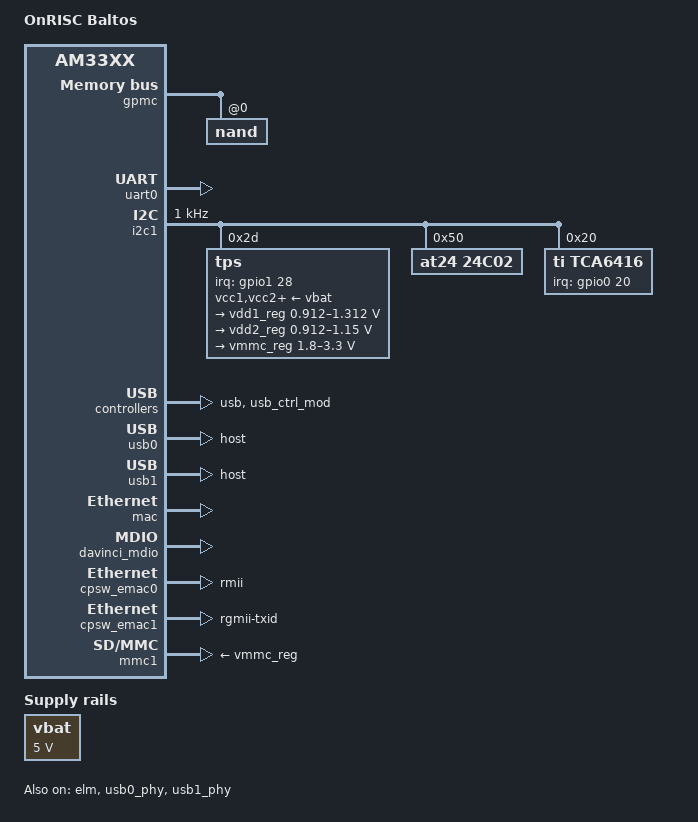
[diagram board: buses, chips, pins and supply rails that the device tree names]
/*
 * Copyright (C) 2012 Texas Instruments Incorporated - http://www.ti.com/
 *
 * This program is free software; you can redistribute it and/or modify
 * it under the terms of the GNU General Public License version 2 as
 * published by the Free Software Foundation.
 */

/*
 * VScom OnRISC
 * http://www.vscom.de
 */

/dts-v1/;

#include "am33xx.dtsi"
#include <dt-bindings/pwm/pwm.h>

/ {
	model = "OnRISC Baltos";
	compatible = "vscom,onrisc", "ti,am33xx";

	chosen {
		stdout-path = &uart0;
	};

	cpus {
		cpu@0 {
			cpu0-supply = <&vdd1_reg>;
		};
	};

	vbat: fixedregulator@0 {
		compatible = "regulator-fixed";
		regulator-name = "vbat";
		regulator-min-microvolt = <5000000>;
		regulator-max-microvolt = <5000000>;
		regulator-boot-on;
	};
};

&am33xx_pinmux {
	mmc1_pins: pinmux_mmc1_pins {
		pinctrl-single,pins = <
			0xf0 (MUX_MODE0 | INPUT_EN | PULL_UP)	/* mmc0_dat3.mmc0_dat3 */
			0xf4 (MUX_MODE0 | INPUT_EN | PULL_UP)	/* mmc0_dat2.mmc0_dat2 */
			0xf8 (MUX_MODE0 | INPUT_EN | PULL_UP)	/* mmc0_dat1.mmc0_dat1 */
			0xfc (MUX_MODE0 | INPUT_EN | PULL_UP)	/* mmc0_dat0.mmc0_dat0 */
			0x100 (MUX_MODE0 | INPUT_EN | PULL_UP)	/* mmc0_clk.mmc0_clk */
			0x104 (MUX_MODE0 | INPUT_EN | PULL_UP)	/* mmc0_cmd.mmc0_cmd */
		>;
	};

	i2c1_pins: pinmux_i2c1_pins {
		pinctrl-single,pins = <
			0x158 0x2a      /* spi0_d1.i2c1_sda_mux3, INPUT | MODE2 */
			0x15c 0x2a      /* spi0_cs0.i2c1_scl_mux3, INPUT | MODE2 */
		>;
	};

	tps65910_pins: pinmux_tps65910_pins {
		pinctrl-single,pins = <
			0x078 (PIN_INPUT_PULLUP | MUX_MODE7)      /* gpmc_ben1.gpio1[28] */
		>;

	};
	tca6416_pins: pinmux_tca6416_pins {
		pinctrl-single,pins = <
			AM33XX_IOPAD(0x9b4, PIN_INPUT_PULLUP | MUX_MODE7)      /* xdma_event_intr1.gpio0[20] tca6416 stuff */
		>;
	};

	uart0_pins: pinmux_uart0_pins {
		pinctrl-single,pins = <
			0x170 (PIN_INPUT_PULLUP | MUX_MODE0)	/* uart0_rxd.uart0_rxd */
			0x174 (PIN_OUTPUT_PULLDOWN | MUX_MODE0)		/* uart0_txd.uart0_txd */
		>;
	};

	cpsw_default: cpsw_default {
		pinctrl-single,pins = <
			/* Slave 1 */
			0x10c (PIN_INPUT_PULLDOWN | MUX_MODE1)       /* mii1_crs.rmii1_crs_dv */
			0x114 (PIN_OUTPUT_PULLDOWN | MUX_MODE1)      /* mii1_tx_en.rmii1_txen */
			0x124 (PIN_OUTPUT_PULLDOWN | MUX_MODE1)      /* mii1_txd1.rmii1_txd1 */
			0x128 (PIN_OUTPUT_PULLDOWN | MUX_MODE1)      /* mii1_txd0.rmii1_txd0 */
			0x13c (PIN_INPUT_PULLDOWN | MUX_MODE1)      /* mii1_rxd1.rmii1_rxd1 */
			0x140 (PIN_INPUT_PULLDOWN | MUX_MODE1)      /* mii1_rxd0.rmii1_rxd0 */
			0x144 (PIN_INPUT_PULLDOWN | MUX_MODE0)      /* rmii1_ref_clk.rmii1_refclk */


			/* Slave 2 */
			0x40 (PIN_OUTPUT_PULLDOWN | MUX_MODE2)	/* gpmc_a0.rgmii2_tctl */
			0x44 (PIN_INPUT_PULLDOWN | MUX_MODE2)	/* gpmc_a1.rgmii2_rctl */
			0x48 (PIN_OUTPUT_PULLDOWN | MUX_MODE2)	/* gpmc_a2.rgmii2_td3 */
			0x4c (PIN_OUTPUT_PULLDOWN | MUX_MODE2)	/* gpmc_a3.rgmii2_td2 */
			0x50 (PIN_OUTPUT_PULLDOWN | MUX_MODE2)	/* gpmc_a4.rgmii2_td1 */
			0x54 (PIN_OUTPUT_PULLDOWN | MUX_MODE2)	/* gpmc_a5.rgmii2_td0 */
			0x58 (PIN_OUTPUT_PULLDOWN | MUX_MODE2)	/* gpmc_a6.rgmii2_tclk */
			0x5c (PIN_INPUT_PULLDOWN | MUX_MODE2)	/* gpmc_a7.rgmii2_rclk */
			0x60 (PIN_INPUT_PULLDOWN | MUX_MODE2)	/* gpmc_a8.rgmii2_rd3 */
			0x64 (PIN_INPUT_PULLDOWN | MUX_MODE2)	/* gpmc_a9.rgmii2_rd2 */
			0x68 (PIN_INPUT_PULLDOWN | MUX_MODE2)	/* gpmc_a10.rgmii2_rd1 */
			0x6c (PIN_INPUT_PULLDOWN | MUX_MODE2)	/* gpmc_a11.rgmii2_rd0 */
		>;
	};

	cpsw_sleep: cpsw_sleep {
		pinctrl-single,pins = <
			/* Slave 1 reset value */
			0x10c (PIN_INPUT_PULLDOWN | MUX_MODE7)
			0x114 (PIN_INPUT_PULLDOWN | MUX_MODE7)
			0x124 (PIN_INPUT_PULLDOWN | MUX_MODE7)
			0x128 (PIN_INPUT_PULLDOWN | MUX_MODE7)
			0x13c (PIN_INPUT_PULLDOWN | MUX_MODE7)
			0x140 (PIN_INPUT_PULLDOWN | MUX_MODE7)
			0x144 (PIN_INPUT_PULLDOWN | MUX_MODE7)

			/* Slave 2 reset value*/
			0x40 (PIN_INPUT_PULLDOWN | MUX_MODE7)
			0x44 (PIN_INPUT_PULLDOWN | MUX_MODE7)
			0x48 (PIN_INPUT_PULLDOWN | MUX_MODE7)
			0x4c (PIN_INPUT_PULLDOWN | MUX_MODE7)
			0x50 (PIN_INPUT_PULLDOWN | MUX_MODE7)
			0x54 (PIN_INPUT_PULLDOWN | MUX_MODE7)
			0x58 (PIN_INPUT_PULLDOWN | MUX_MODE7)
			0x5c (PIN_INPUT_PULLDOWN | MUX_MODE7)
			0x60 (PIN_INPUT_PULLDOWN | MUX_MODE7)
			0x64 (PIN_INPUT_PULLDOWN | MUX_MODE7)
			0x68 (PIN_INPUT_PULLDOWN | MUX_MODE7)
			0x6c (PIN_INPUT_PULLDOWN | MUX_MODE7)
		>;
	};

	davinci_mdio_default: davinci_mdio_default {
		pinctrl-single,pins = <
			/* MDIO */
			0x148 (PIN_INPUT_PULLUP | SLEWCTRL_FAST | MUX_MODE0)	/* mdio_data.mdio_data */
			0x14c (PIN_OUTPUT_PULLUP | MUX_MODE0)			/* mdio_clk.mdio_clk */
		>;
	};

	davinci_mdio_sleep: davinci_mdio_sleep {
		pinctrl-single,pins = <
			/* MDIO reset value */
			0x148 (PIN_INPUT_PULLDOWN | MUX_MODE7)
			0x14c (PIN_INPUT_PULLDOWN | MUX_MODE7)
		>;
	};

	nandflash_pins_s0: nandflash_pins_s0 {
		pinctrl-single,pins = <
			0x0 (PIN_INPUT_PULLUP | MUX_MODE0)	/* gpmc_ad0.gpmc_ad0 */
			0x4 (PIN_INPUT_PULLUP | MUX_MODE0)	/* gpmc_ad1.gpmc_ad1 */
			0x8 (PIN_INPUT_PULLUP | MUX_MODE0)	/* gpmc_ad2.gpmc_ad2 */
			0xc (PIN_INPUT_PULLUP | MUX_MODE0)	/* gpmc_ad3.gpmc_ad3 */
			0x10 (PIN_INPUT_PULLUP | MUX_MODE0)	/* gpmc_ad4.gpmc_ad4 */
			0x14 (PIN_INPUT_PULLUP | MUX_MODE0)	/* gpmc_ad5.gpmc_ad5 */
			0x18 (PIN_INPUT_PULLUP | MUX_MODE0)	/* gpmc_ad6.gpmc_ad6 */
			0x1c (PIN_INPUT_PULLUP | MUX_MODE0)	/* gpmc_ad7.gpmc_ad7 */
			0x70 (PIN_INPUT_PULLUP | MUX_MODE0)	/* gpmc_wait0.gpmc_wait0 */
			0x74 (PIN_INPUT_PULLUP | MUX_MODE7)	/* gpmc_wpn.gpio0_30 */
			0x7c (PIN_OUTPUT | MUX_MODE0)		/* gpmc_csn0.gpmc_csn0  */
			0x90 (PIN_OUTPUT | MUX_MODE0)		/* gpmc_advn_ale.gpmc_advn_ale */
			0x94 (PIN_OUTPUT | MUX_MODE0)		/* gpmc_oen_ren.gpmc_oen_ren */
			0x98 (PIN_OUTPUT | MUX_MODE0)		/* gpmc_wen.gpmc_wen */
			0x9c (PIN_OUTPUT | MUX_MODE0)		/* gpmc_be0n_cle.gpmc_be0n_cle */
		>;
	};
};

&elm {
	status = "okay";
};

&gpmc {
	pinctrl-names = "default";
	pinctrl-0 = <&nandflash_pins_s0>;
	ranges = <0 0 0x08000000 0x10000000>;	/* CS0: NAND */
	status = "okay";

	nand@0,0 {
		reg = <0 0 0>; /* CS0, offset 0 */
		nand-bus-width = <8>;
		ti,nand-ecc-opt = "bch8";
		ti,nand-xfer-type = "polled";

		gpmc,device-nand = "true";
		gpmc,device-width = <1>;
		gpmc,sync-clk-ps = <0>;
		gpmc,cs-on-ns = <0>;
		gpmc,cs-rd-off-ns = <44>;
		gpmc,cs-wr-off-ns = <44>;
		gpmc,adv-on-ns = <6>;
		gpmc,adv-rd-off-ns = <34>;
		gpmc,adv-wr-off-ns = <44>;
		gpmc,we-on-ns = <0>;
		gpmc,we-off-ns = <40>;
		gpmc,oe-on-ns = <0>;
		gpmc,oe-off-ns = <54>;
		gpmc,access-ns = <64>;
		gpmc,rd-cycle-ns = <82>;
		gpmc,wr-cycle-ns = <82>;
		gpmc,wait-on-read = "true";
		gpmc,wait-on-write = "true";
		gpmc,bus-turnaround-ns = <0>;
		gpmc,cycle2cycle-delay-ns = <0>;
		gpmc,clk-activation-ns = <0>;
		gpmc,wait-monitoring-ns = <0>;
		gpmc,wr-access-ns = <40>;
		gpmc,wr-data-mux-bus-ns = <0>;

		#address-cells = <1>;
		#size-cells = <1>;
		elm_id = <&elm>;

		boot@0 {
		       label = "SPL";
		       reg = <0x0 0x20000>;
		};
		boot@20000{
		       label = "SPL.backup1";
		       reg = <0x20000 0x20000>;
		};
		boot@40000 {
		       label = "SPL.backup2";
		       reg = <0x40000 0x20000>;
		};
		boot@60000 {
		       label = "SPL.backup3";
		       reg = <0x60000 0x20000>;
		};
		boot@80000 {
		       label = "u-boot";
		       reg = <0x80000 0x1e0000>;
		};
		boot@260000 {
		       label = "UBI";
		       reg = <0x260000 0xfda0000>;
		};
	};
};

&uart0 {
	pinctrl-names = "default";
	pinctrl-0 = <&uart0_pins>;

	status = "okay";
};

&i2c1 {
	pinctrl-names = "default";
	pinctrl-0 = <&i2c1_pins>;

	status = "okay";
	clock-frequency = <1000>;

	tps: tps@2d {
		reg = <0x2d>;
		gpio-controller;
		#gpio-cells = <2>;
		interrupt-parent = <&gpio1>;
		interrupts = <28 GPIO_ACTIVE_LOW>;
		pinctrl-names = "default";
		pinctrl-0 = <&tps65910_pins>;
	};

	at24@50 {
		compatible = "at24,24c02";
		pagesize = <8>;
		reg = <0x50>;
	};

	tca6416: gpio@20 {
		compatible = "ti,tca6416";
		reg = <0x20>;
		gpio-controller;
		#gpio-cells = <2>;
		interrupt-parent = <&gpio0>;
		interrupts = <20 GPIO_ACTIVE_LOW>;
		pinctrl-names = "default";
		pinctrl-0 = <&tca6416_pins>;
	};
};

&usb {
	status = "okay";
};

&usb_ctrl_mod {
	status = "okay";
};

&usb0_phy {
	status = "okay";
};

&usb1_phy {
	status = "okay";
};

&usb0 {
	status = "okay";
	dr_mode = "host";
};

&usb1 {
	status = "okay";
	dr_mode = "host";
};

&cppi41dma  {
	status = "okay";
};

/include/ "tps65910.dtsi"

&tps {
	vcc1-supply = <&vbat>;
	vcc2-supply = <&vbat>;
	vcc3-supply = <&vbat>;
	vcc4-supply = <&vbat>;
	vcc5-supply = <&vbat>;
	vcc6-supply = <&vbat>;
	vcc7-supply = <&vbat>;
	vccio-supply = <&vbat>;

	ti,en-ck32k-xtal = <1>;

	regulators {
		vrtc_reg: regulator@0 {
			regulator-always-on;
		};

		vio_reg: regulator@1 {
			regulator-always-on;
		};

		vdd1_reg: regulator@2 {
			/* VDD_MPU voltage limits 0.95V - 1.26V with +/-4% tolerance */
			regulator-name = "vdd_mpu";
			regulator-min-microvolt = <912500>;
			regulator-max-microvolt = <1312500>;
			regulator-boot-on;
			regulator-always-on;
		};

		vdd2_reg: regulator@3 {
			/* VDD_CORE voltage limits 0.95V - 1.1V with +/-4% tolerance */
			regulator-name = "vdd_core";
			regulator-min-microvolt = <912500>;
			regulator-max-microvolt = <1150000>;
			regulator-boot-on;
			regulator-always-on;
		};

		vdd3_reg: regulator@4 {
			regulator-always-on;
		};

		vdig1_reg: regulator@5 {
			regulator-always-on;
		};

		vdig2_reg: regulator@6 {
			regulator-always-on;
		};

		vpll_reg: regulator@7 {
			regulator-always-on;
		};

		vdac_reg: regulator@8 {
			regulator-always-on;
		};

		vaux1_reg: regulator@9 {
			regulator-always-on;
		};

		vaux2_reg: regulator@10 {
			regulator-always-on;
		};

		vaux33_reg: regulator@11 {
			regulator-always-on;
		};

		vmmc_reg: regulator@12 {
			regulator-min-microvolt = <1800000>;
			regulator-max-microvolt = <3300000>;
			regulator-always-on;
		};
	};
};

&mac {
	pinctrl-names = "default", "sleep";
	pinctrl-0 = <&cpsw_default>;
	pinctrl-1 = <&cpsw_sleep>;
	dual_emac = <1>;

	status = "okay";
};

&davinci_mdio {
	pinctrl-names = "default", "sleep";
	pinctrl-0 = <&davinci_mdio_default>;
	pinctrl-1 = <&davinci_mdio_sleep>;

	status = "okay";
};

&cpsw_emac0 {
	phy_id = <&davinci_mdio>, <0>;
	phy-mode = "rmii";
	dual_emac_res_vlan = <1>;
};

&cpsw_emac1 {
	phy_id = <&davinci_mdio>, <7>;
	phy-mode = "rgmii-txid";
	dual_emac_res_vlan = <2>;
};

&phy_sel {
	rmii-clock-ext = <1>;
};

&mmc1 {
	pinctrl-names = "default";
	pinctrl-0 = <&mmc1_pins>;
	vmmc-supply = <&vmmc_reg>;
	status = "okay";
};

&gpio0 {
	ti,no-reset-on-init;
};
